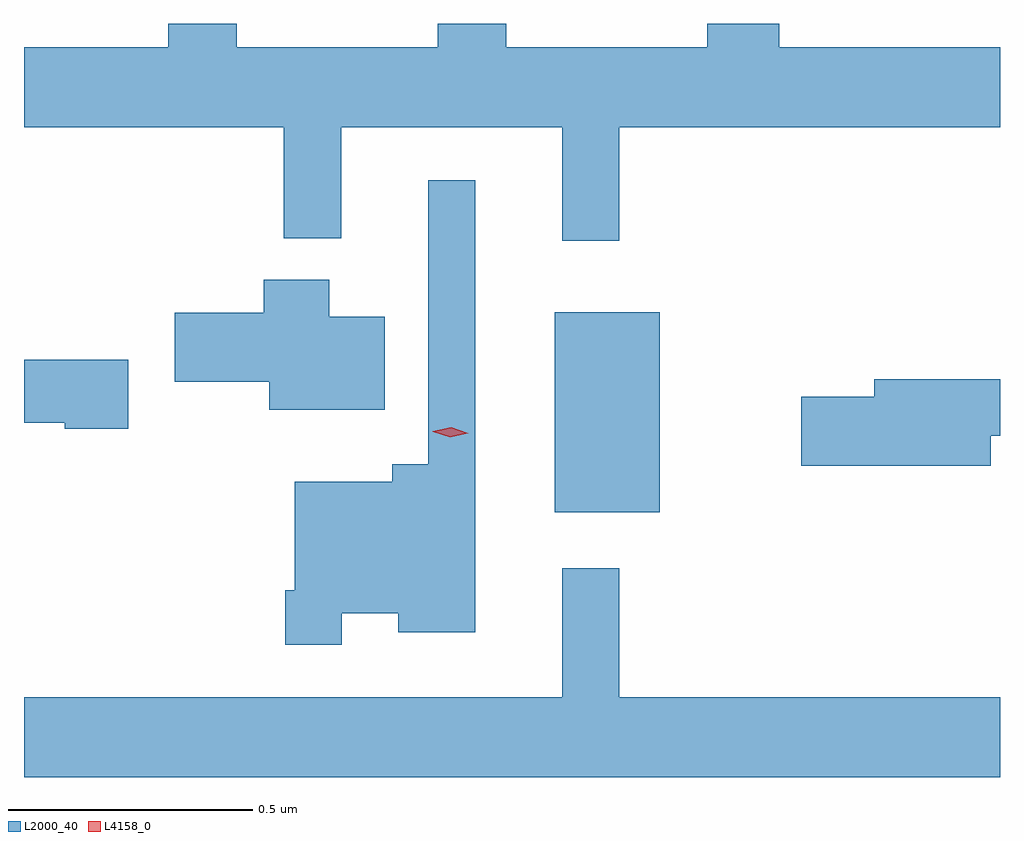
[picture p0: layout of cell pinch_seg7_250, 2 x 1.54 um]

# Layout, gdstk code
import gdstk
lib = gdstk.Library(unit=1e-6, precision=1e-09)
def R(c, l, rs):  # rectangles x0, y0, x1, y1
    for r in rs: c.add(gdstk.rectangle(r[:2], r[2:], *l))
def P(c, l, *ps):  # polygons
    for p in ps: c.add(gdstk.Polygon(p, *l))
L2000_40 = (2000, 40)
L4158_0 = (4158, 0)

pinch_seg7_250 = lib.new_cell('pinch_seg7_250')
R(pinch_seg7_250, L2000_40, [(843.485,1063.763,843.7,1064.173)])
P(pinch_seg7_250, L2000_40, [(843.617,1064.552),(844.397,1064.552),(844.397,1064.716),(843.945,1064.716),(843.945,1064.764),(843.797,1064.764),(843.797,1064.716),(843.385,1064.716),(843.385,1064.764),(843.245,1064.764),(843.245,1064.716),(842.833,1064.716),(842.833,1064.764),(842.693,1064.764),(842.693,1064.716),(842.397,1064.716),(842.397,1064.552),(842.929,1064.552),(842.929,1064.324),(843.047,1064.324),(843.047,1064.552),(843.5,1064.552),(843.5,1064.319),(843.617,1064.319)],
  [(843.048,1063.556),(843.164,1063.556),(843.164,1063.517),(843.322,1063.517),(843.322,1064.443),(843.225,1064.443),(843.225,1063.861),(843.152,1063.861),(843.152,1063.825),(842.952,1063.825),(842.952,1063.603),(842.932,1063.603),(842.932,1063.491),(843.048,1063.491)],
  [(843.136,1064.164),(843.022,1064.164),(843.022,1064.239),(842.888,1064.239),(842.888,1064.172),(842.706,1064.172),(842.706,1064.03),(842.9,1064.03),(842.9,1063.973),(843.136,1063.973)],
  [(842.611,1064.076),(842.397,1064.076),(842.397,1063.946),(842.481,1063.946),(842.481,1063.934),(842.611,1063.934)],
  [(844.378,1063.92),(844.397,1063.92),(844.397,1064.036),(844.139,1064.036),(844.139,1064),(843.99,1064),(843.99,1063.858),(844.378,1063.858)],
  [(844.397,1063.384),(843.617,1063.384),(843.617,1063.648),(843.5,1063.648),(843.5,1063.384),(842.397,1063.384),(842.397,1063.22),(844.397,1063.22)])
P(pinch_seg7_250, L4158_0, [(843.27,1063.917),(843.235,1063.928),(843.235,1063.929),(843.235,1063.929),(843.272,1063.937),(843.307,1063.925),(843.307,1063.925),(843.307,1063.925)])

lib.write_gds('pinch_seg7_250.gds')
